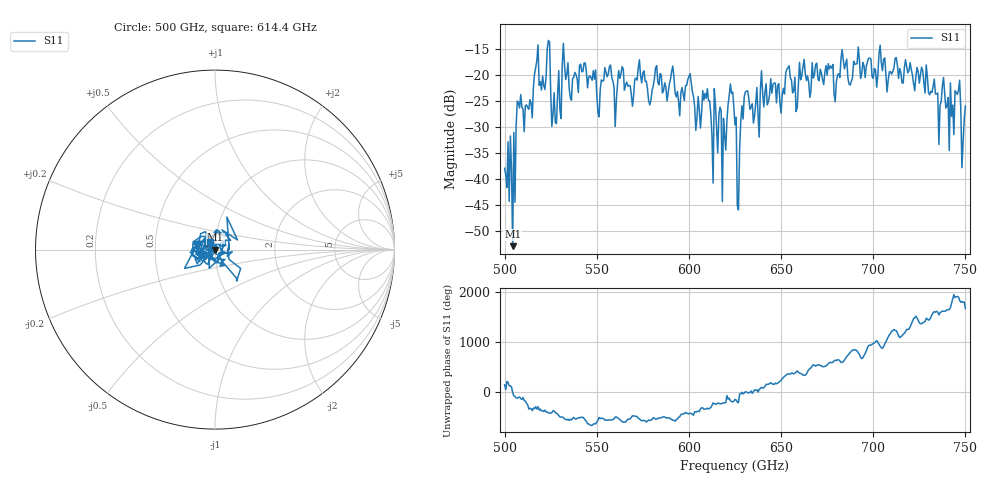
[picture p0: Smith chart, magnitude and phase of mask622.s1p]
!Created with skrf (http://scikit-rf.org).
# GHz S MA R 50.0
!freq magS11 angS11
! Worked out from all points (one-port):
!   401 points, 500 GHz to 750 GHz, reference 50 ohm
!   lowest |S11| = -52.8 dB at 504.4 GHz (marker M1), VSWR 1.00, Z = 50.2 - j0.0199 ohm
!   |S11| at or under -10 dB: start of sweep to end of sweep
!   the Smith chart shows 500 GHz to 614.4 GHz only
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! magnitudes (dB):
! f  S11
! 500 GHz  -37.9
! 504.4 GHz  -52.8
! 507.5 GHz  -25.3
! 513.8 GHz  -24.8
! 516.9 GHz  -18.7
! 520.6 GHz  -20.3
! 523.8 GHz  -13.5
! 526.9 GHz  -23.5
! 531.2 GHz  -18.4
! 542.5 GHz  -19.4
! 551.2 GHz  -28.1
! 562.5 GHz  -20.7
! 578.8 GHz  -25.8
! 590.6 GHz  -19.4
! 593.8 GHz  -23.2
! 610 GHz  -22.7
! 611.9 GHz  -27.6
! 619.4 GHz  -31.7
! 623.1 GHz  -23.6
! 625 GHz  -29.6
! 626.9 GHz  -45.9
! 631.2 GHz  -23.1
! 656.2 GHz  -23.5
! 680 GHz  -21.3
! 683.8 GHz  -17.2
! 687.5 GHz  -22.0
! 718.8 GHz  -19.6
! 750 GHz  -26.0
